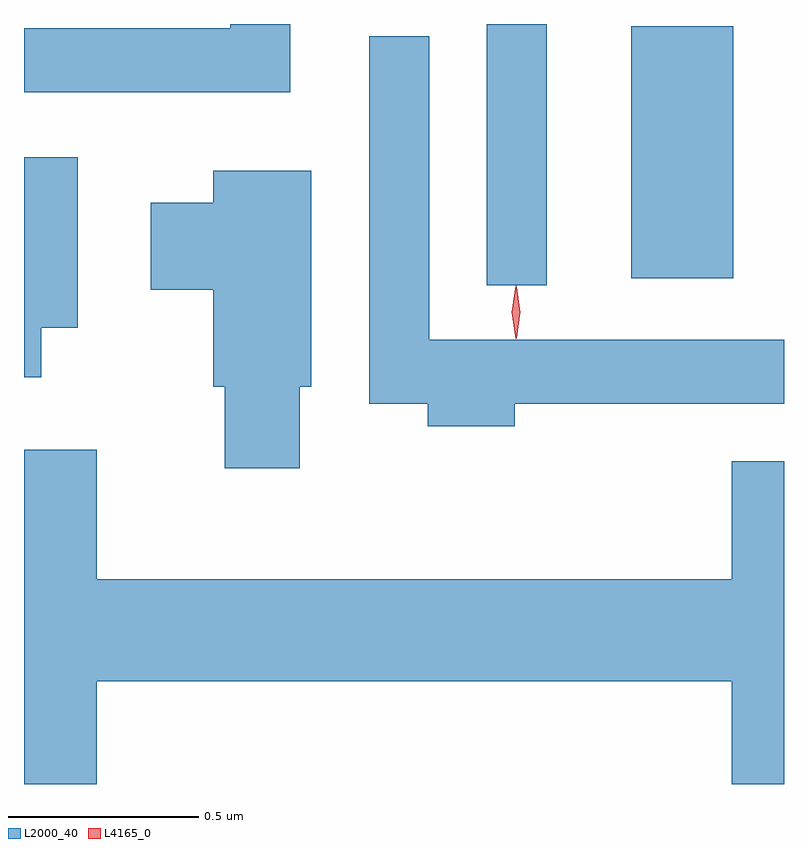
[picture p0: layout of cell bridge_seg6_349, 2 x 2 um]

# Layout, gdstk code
import gdstk
lib = gdstk.Library(unit=1e-6, precision=1e-09)
def R(c, l, rs):  # rectangles x0, y0, x1, y1
    for r in rs: c.add(gdstk.rectangle(r[:2], r[2:], *l))
def P(c, l, *ps):  # polygons
    for p in ps: c.add(gdstk.Polygon(p, *l))
L2000_40 = (2000, 40)
L4165_0 = (4165, 0)

bridge_seg6_349 = lib.new_cell('bridge_seg6_349')
R(bridge_seg6_349, L2000_40, [(1290.836,1553.298,1290.994,1553.985), (1291.216,1553.316,1291.484,1553.979)])
P(bridge_seg6_349, L2000_40, [(1290.319,1553.985),(1290.161,1553.985),(1290.161,1553.974),(1289.618,1553.974),(1289.618,1553.806),(1290.319,1553.806)],
  [(1290.909,1552.986),(1291.618,1552.986),(1291.618,1553.154),(1290.684,1553.154),(1290.684,1553.953),(1290.526,1553.953),(1290.526,1552.986),(1290.681,1552.986),(1290.681,1552.926),(1290.909,1552.926)],
  [(1289.664,1553.186),(1289.759,1553.186),(1289.759,1553.634),(1289.618,1553.634),(1289.618,1553.056),(1289.664,1553.056)],
  [(1290.344,1553.031),(1290.374,1553.031),(1290.374,1553.599),(1290.116,1553.599),(1290.116,1553.514),(1289.951,1553.514),(1289.951,1553.286),(1290.116,1553.286),(1290.116,1553.031),(1290.146,1553.031),(1290.146,1552.816),(1290.344,1552.816)],
  [(1289.809,1552.256),(1291.481,1552.256),(1291.481,1551.985),(1291.618,1551.985),(1291.618,1552.834),(1291.481,1552.834),(1291.481,1552.524),(1289.809,1552.524),(1289.809,1552.864),(1289.618,1552.864),(1289.618,1551.985),(1289.809,1551.985)])
P(bridge_seg6_349, L4165_0, [(1290.915,1553.159),(1290.914,1553.16),(1290.905,1553.226),(1290.914,1553.292),(1290.914,1553.293),(1290.915,1553.292),(1290.924,1553.226),(1290.915,1553.16)],
  [(1290.912,1553.157),(1290.912,1553.157),(1290.902,1553.227),(1290.912,1553.296),(1290.912,1553.296),(1290.913,1553.296),(1290.922,1553.227),(1290.913,1553.157)])

lib.write_gds('bridge_seg6_349.gds')
